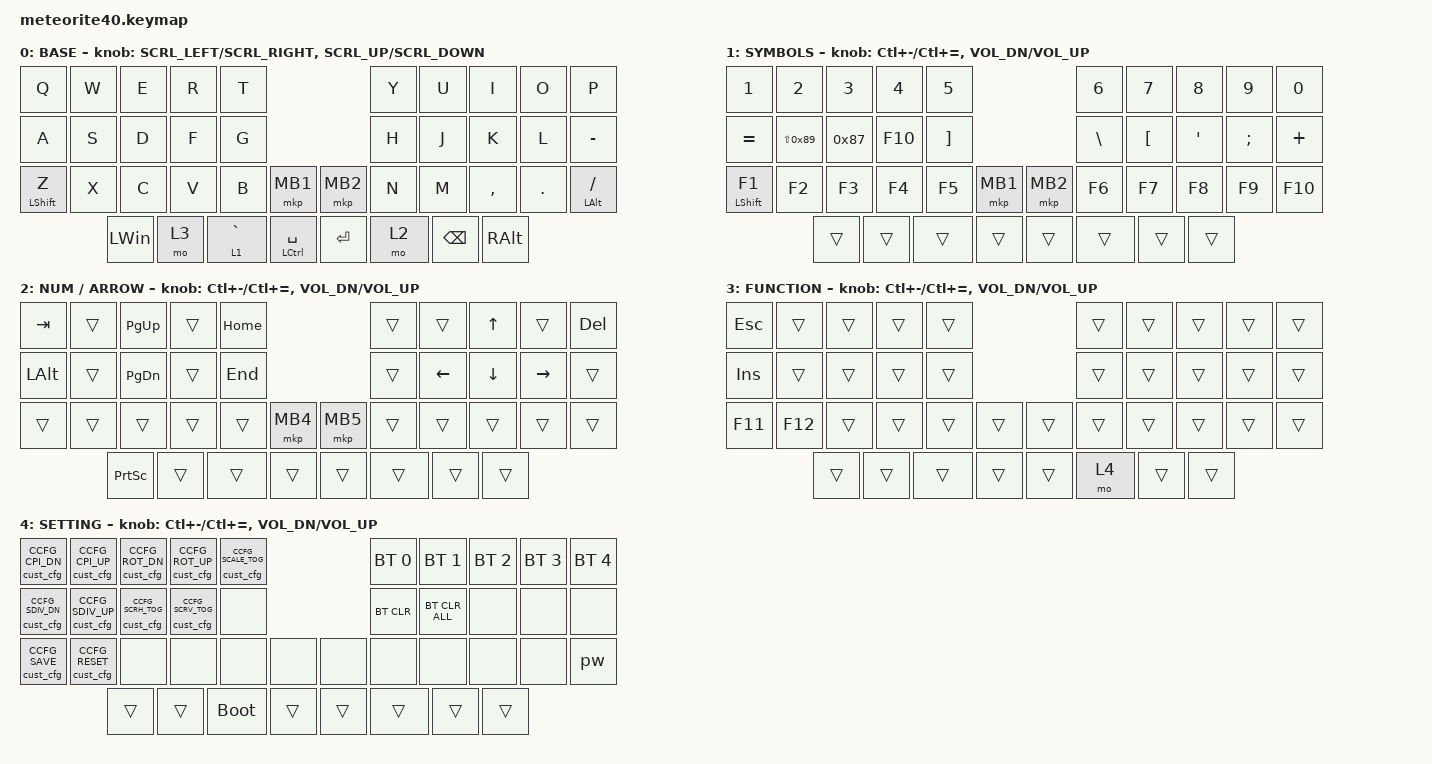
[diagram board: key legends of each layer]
#include <behaviors.dtsi>
#include <dt-bindings/zmk/bt.h>
#include <dt-bindings/zmk/keys.h>
#include <behaviors/custom_config.dtsi>
#include <dt-bindings/zmk/custom_config.h>

#define ZMK_POINTING_DEFAULT_SCRL_VAL 100
#include <dt-bindings/zmk/pointing.h>

&mt { 
    flavor = "tap-preferred"; // change hold to tap
    tapping-term-ms = <200>;
    quick-tap-ms = <150>; // change 200 to 150
};

&lt {
    flavor = "tap-preferred";
    tapping-term-ms = <150>; // change 200 to 150
    quick-tap-ms = <150>; // change 200 to 150
};

/ { 
    behaviors {
        mouse_scroll: mouse_wheel {
            compatible = "zmk,behavior-sensor-rotate-var";
            #sensor-binding-cells = <2>;
            bindings = <&msc>, <&msc>;
            tap-ms = <25>;
        };
    };

    macros {
        pw: pw {
            compatible = "zmk,behavior-macro";
            #binding-cells = <0>;
            bindings = <&kp LS(S) &kp H &kp I &kp K &kp I &kp N1 &kp N1 &kp N2 &kp N6 &kp N1 &kp N1 &kp LEFT_BRACKET>;
            label = "PW";
        };
    };

    combos {
        compatible = "zmk,combos";

        combo-mb3 {
            bindings = <&mkp MB3>;
            key-positions = <25 26>;
            layers = <0>;
        };
    };

    keymap {
        compatible = "zmk,keymap";
        layout = &LAYOUT_2U_SPACE;

        win_default_layer {
            display-name = "BASE";
            bindings = <
&kp Q				&kp W		&kp E		&kp R			&kp T      										&kp Y	&kp U			&kp I		&kp O		&kp P
&kp A				&kp S		&kp D		&kp F			&kp G      										&kp H	&kp J			&kp K		&kp L		&kp MINUS
&mt LEFT_SHIFT Z	&kp X		&kp C		&kp V			&kp B			&mkp MB1			&mkp MB2	&kp N	&kp M			&kp COMMA	&kp DOT		&mt LEFT_ALT SLASH
								&kp LWIN	&mo 3			&lt 1 GRAVE		&mt LCTRL SPACE		&kp ENTER	&mo 2	&kp BACKSPACE	&kp RALT
            >;

            sensor-bindings =
                //<&inc_dec_kp LC(MINUS) LC(EQUAL)>, // RE0: ctrl + - / +,,,
                //<&inc_dec_kp C_VOL_DN C_VOL_UP>; // RE1: volume down/up
                <&mouse_scroll SCRL_LEFT SCRL_RIGHT>,
			    <&mouse_scroll SCRL_UP SCRL_DOWN>;

        };

        layer_1 {
            display-name = "SYMBOLS";
            bindings = <
&kp NUMBER_1		&kp NUMBER_2	&kp NUMBER_3	&kp NUMBER_4	&kp NUMBER_5								&kp NUMBER_6	&kp NUMBER_7		&kp NUMBER_8		&kp NUMBER_9	&kp NUMBER_0
&kp EQUAL			&kp LS(0x89)	&kp 0x87		&kp F10			&kp RIGHT_BRACKET							&kp BACKSLASH	&kp LEFT_BRACKET	&kp SINGLE_QUOTE	&kp SEMICOLON	&kp PLUS
&mt LEFT_SHIFT F1	&kp F2			&kp F3			&kp F4			&kp F5				&mkp MB1	&mkp MB2	&kp F6			&kp F7				&kp F8				&kp F9			&kp F10
									&trans			&trans			&trans				&trans      &trans		&trans			&trans				&trans
            >;

            sensor-bindings =
                <&inc_dec_kp LC(MINUS) LC(EQUAL)>, // RE0: ctrl + - / +,,,
                <&inc_dec_kp C_VOL_DN C_VOL_UP>; // RE1: volume down/up
                //<&mouse_scroll SCRL_LEFT SCRL_RIGHT>,
				//<&mouse_scroll SCRL_UP SCRL_DOWN>;
        };

        layer_2 {
            display-name = "NUM / ARROW";
            bindings = <
&kp TAB				&trans		&kp PAGE_UP			&trans		&kp HOME							&trans    &trans	&kp UP		&trans		&kp DELETE
&kp LEFT_ALT		&trans		&kp PAGE_DOWN		&trans		&kp END   							&trans    &kp LEFT	&kp DOWN	&kp RIGHT	&trans
&trans				&trans		&trans				&trans		&trans		&mkp MB4	&mkp MB5	&trans    &trans	&trans      &trans		&trans
								&kp PRINTSCREEN		&trans		&trans		&trans		&trans		&trans    &trans	&trans
            >;

            sensor-bindings =
                <&inc_dec_kp LC(MINUS) LC(EQUAL)>, // RE0: ctrl + - / +,,,
                <&inc_dec_kp C_VOL_DN C_VOL_UP>; // RE1: volume down/up

        };

        layer_3 {
            display-name = "FUNCTION";
            bindings = <
&kp ESCAPE  &trans   &trans  &trans  &trans  				 &trans  &trans  &trans  &trans  &trans
&kp INSERT  &trans   &trans  &trans  &trans  				 &trans  &trans  &trans  &trans  &trans
&kp F11     &kp F12  &trans  &trans  &trans  &trans  &trans  &trans  &trans  &trans  &trans  &trans
					 &trans  &trans  &trans  &trans  &trans  &mo 4   &trans  &trans
            >;

            sensor-bindings =
                <&inc_dec_kp LC(MINUS) LC(EQUAL)>, // RE0: ctrl + - / +,,,
                <&inc_dec_kp C_VOL_DN C_VOL_UP>; // RE1: volume down/up

        };

        layer_4 {
			display-name = "SETTING";
			bindings = <
&cust_cfg CCFG_CPI_DN  &cust_cfg CCFG_CPI_UP  &cust_cfg CCFG_ROT_DN   	&cust_cfg CCFG_ROT_UP   	&cust_cfg CCFG_SCALE_TOG                  		&bt BT_SEL 0   	&bt BT_SEL 1    &bt BT_SEL 2  &bt BT_SEL 3  &bt BT_SEL 4
&cust_cfg CCFG_SDIV_DN &cust_cfg CCFG_SDIV_UP &cust_cfg CCFG_SCRH_TOG	&cust_cfg CCFG_SCRV_TOG		&none											&bt BT_CLR     	&bt BT_CLR_ALL  &none         &none         &none
&cust_cfg CCFG_SAVE    &cust_cfg CCFG_RESET   &none                  	&none                  		&none						&none	&none      	&none	    	&none           &none         &none         &pw
											  &trans					&trans     					&bootloader					&trans  &trans  	&trans    		&trans       	&trans
			>;

            sensor-bindings =
                <&inc_dec_kp LC(MINUS) LC(EQUAL)>, // RE0: ctrl + - / +,,,
                <&inc_dec_kp C_VOL_DN C_VOL_UP>; // RE1: volume down/up

        };
    };
};
